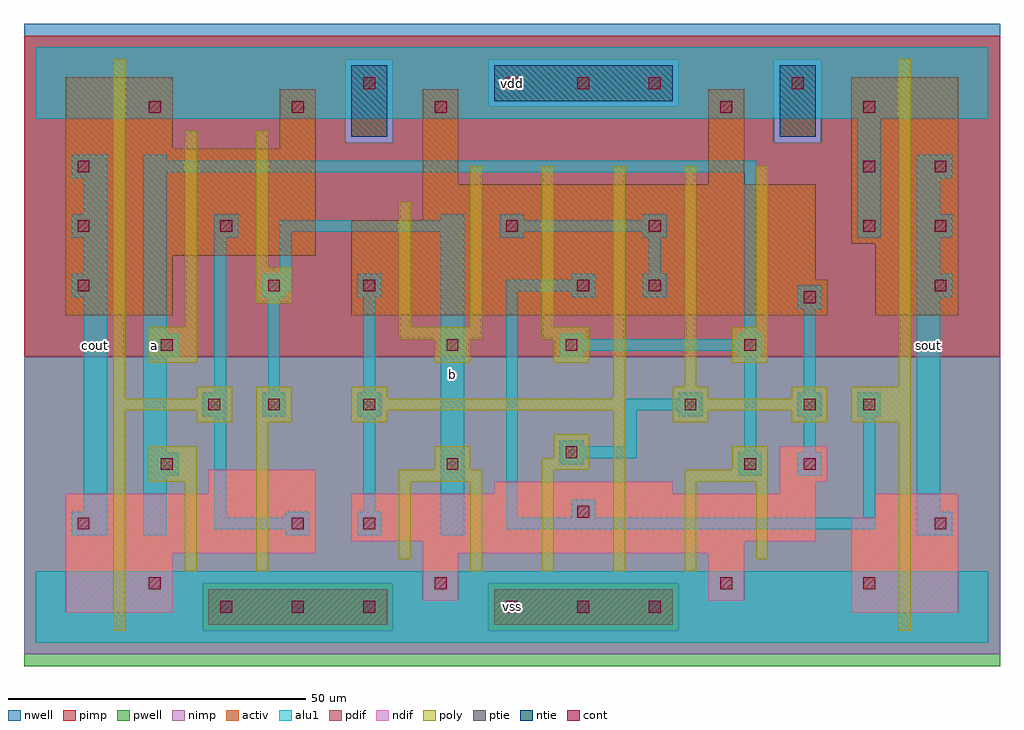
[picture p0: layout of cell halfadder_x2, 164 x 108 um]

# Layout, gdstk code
import gdstk
lib = gdstk.Library(unit=1e-6, precision=1e-09)
def R(c, l, rs):  # rectangles x0, y0, x1, y1
    for r in rs: c.add(gdstk.rectangle(r[:2], r[2:], *l))
def A(c, l, x, y, w, h, nx, ny, dx, dy):  # array of equal rectangles
    R(c, l, [(x+i*dx, y+j*dy, x+i*dx+w, y+j*dy+h) for i in range(nx) for j in range(ny)])
ndif = (3, 0)
pdif = (4, 0)
ntie = (5, 0)
ptie = (6, 0)
cont = (25, 0)
pwell = (41, 0)
nwell = (42, 0)
activ = (43, 0)
pimp = (44, 0)
nimp = (45, 0)
poly = (46, 0)
alu1 = (49, 0)

halfadder_x2 = lib.new_cell('halfadder_x2')
R(halfadder_x2, ndif, [(5,5,23,15), (137,5,155,21), (65,7,71,15), (113,7,119,15), (5,15,47,25), (65,15,119,17), (53,17,131,25), (141,21,155,25), (29,25,47,29), (77,25,107,27), (125,25,131,27), (125,27,133,33)])
R(halfadder_x2, pdif, [(5,55,23,65), (53,55,133,61), (141,55,155,67), (53,61,131,71), (5,65,47,83), (137,67,155,95), (65,71,131,77), (65,77,71,93), (113,77,119,93), (5,83,23,95), (41,83,47,93)])
R(halfadder_x2, ntie, [(53,85,59,97), (125,85,131,97), (77,91,107,97)])
R(halfadder_x2, ptie, [(29,3,59,9), (77,3,107,9)])
A(halfadder_x2, cont, 31, 5, 2, 2, 3, 1, 12, 0)
A(halfadder_x2, cont, 79, 5, 2, 2, 3, 2, 12, 88)
A(halfadder_x2, cont, 19, 9, 2, 2, 3, 1, 48, 0)
A(halfadder_x2, cont, 139, 9, 2, 2, 1, 3, 0, 30)
A(halfadder_x2, cont, 55, 19, 2, 2, 1, 3, 0, 20)
A(halfadder_x2, cont, 7, 59, 2, 2, 1, 3, 0, 10)
A(halfadder_x2, cont, 151, 59, 2, 2, 1, 3, 0, 10)
A(halfadder_x2, cont, 19, 89, 2, 2, 3, 1, 24, 0)
R(halfadder_x2, cont, [(7,19,9,21), (43,19,45,21), (151,19,153,21), (91,21,93,23), (21,29,23,31), (69,29,71,31), (119,29,121,31), (129,29,131,31), (89,31,91,33), (29,39,31,41), (39,39,41,41), (109,39,111,41), (129,39,131,41), (21,49,23,51), (69,49,71,51), (89,49,91,51), (119,49,121,51), (129,57,131,59), (39,59,41,61), (91,59,93,61), (103,59,105,61), (31,69,33,71), (79,69,81,71), (103,69,105,71), (139,79,141,81), (115,89,117,91), (139,89,141,91), (55,93,57,95), (127,93,129,95)])
R(halfadder_x2, pwell, [(-2,-4,162,48)])
R(halfadder_x2, nwell, [(-2,48,162,104)])
R(halfadder_x2, activ, [(29,3,59,9), (77,3,107,9), (5,5,23,15), (137,5,155,21), (65,7,71,15), (113,7,119,15), (5,15,47,25), (65,15,119,17), (53,17,131,25), (141,21,155,25), (29,25,47,29), (77,25,107,27), (125,25,131,27), (125,27,133,33), (5,55,23,65), (53,55,133,61), (141,55,155,67), (53,61,131,71), (5,65,47,83), (137,67,155,95), (65,71,131,77), (65,77,71,93), (113,77,119,93), (5,83,23,95), (41,83,47,93), (53,85,59,97), (125,85,131,97), (77,91,107,97)])
R(halfadder_x2, pimp, [(28,2,60,10), (76,2,108,10), (-2,48,162,84), (-2,84,52,98), (60,84,124,90), (132,84,162,98), (60,90,76,98), (108,90,124,98), (-2,98,162,102)])
R(halfadder_x2, nimp, [(-2,-2,162,2), (-2,2,28,10), (60,2,76,10), (108,2,162,10), (-2,10,162,48), (52,84,60,98), (124,84,132,98), (76,90,108,98)])
R(halfadder_x2, poly, [(13,2,15,39), (145,2,147,37), (25,12,27,27), (37,12,39,37), (73,12,75,27), (85,12,87,29), (97,12,99,39), (109,12,111,27), (61,14,63,27), (121,14,123,27), (19,27,27,33), (61,27,75,29), (109,27,123,29), (67,29,73,33), (85,29,93,31), (117,29,123,33), (87,31,93,35), (27,37,33,39), (37,37,43,43), (53,37,59,39), (107,37,113,39), (127,37,133,39), (137,37,147,43), (13,39,33,41), (53,39,99,41), (107,39,133,41), (13,41,15,98), (27,41,33,43), (53,41,59,43), (97,41,99,80), (107,41,113,43), (127,41,133,43), (109,43,111,80), (145,43,147,98), (19,47,27,53), (67,47,73,51), (87,47,93,51), (117,47,123,53), (61,51,75,53), (85,51,93,53), (25,53,27,86), (61,53,63,74), (73,53,75,80), (85,53,87,80), (121,53,123,80), (37,57,43,63), (37,63,39,86)])
A(halfadder_x2, alu1, 54, 18, 4, 4, 1, 3, 0, 20)
A(halfadder_x2, alu1, 6, 58, 6, 4, 1, 3, 0, 10)
A(halfadder_x2, alu1, 148, 58, 6, 4, 1, 3, 0, 10)
R(halfadder_x2, alu1, [(0,0,160,12), (6,18,12,22), (18,18,22,28), (42,18,46,19), (68,18,72,69), (148,18,154,22), (30,19,46,21), (79,19,141,21), (30,21,32,38), (42,21,46,22), (79,21,81,59), (90,21,94,24), (139,21,141,38), (8,22,12,58), (55,22,57,38), (148,22,152,58), (18,28,24,32), (118,28,122,32), (128,28,132,32), (88,30,92,31), (88,31,101,33), (18,32,22,48), (119,32,121,48), (129,32,131,38), (88,33,92,34), (99,33,101,39), (28,38,32,42), (38,38,42,42), (108,38,112,39), (128,38,132,42), (138,38,142,42), (99,39,112,41), (108,41,112,42), (30,42,32,68), (39,42,41,58), (55,42,57,58), (129,42,131,56), (18,48,24,52), (88,48,92,49), (118,48,122,49), (88,49,122,51), (88,51,92,52), (118,51,122,52), (18,52,22,79), (119,52,121,79), (128,56,132,60), (38,58,42,59), (90,58,94,59), (102,58,106,62), (38,59,43,62), (79,59,94,61), (90,61,94,62), (8,62,12,68), (41,62,43,69), (103,62,105,68), (148,62,152,68), (30,68,34,72), (78,68,82,69), (102,68,106,69), (138,68,142,88), (41,69,72,71), (78,69,106,71), (68,71,72,72), (78,71,82,72), (102,71,106,72), (8,72,12,78), (148,72,152,78), (18,79,121,81), (18,81,22,82), (0,88,160,100)])
halfadder_x2.add(gdstk.Label('cout', (10,50), layer=49, texttype=0))
halfadder_x2.add(gdstk.Label('a', (20,50), layer=49, texttype=0))
halfadder_x2.add(gdstk.Label('vss', (80,6), layer=49, texttype=0))
halfadder_x2.add(gdstk.Label('b', (70,45), layer=49, texttype=0))
halfadder_x2.add(gdstk.Label('vdd', (80,94), layer=49, texttype=0))
halfadder_x2.add(gdstk.Label('sout', (150,50), layer=49, texttype=0))

lib.write_gds('halfadder_x2.gds')
